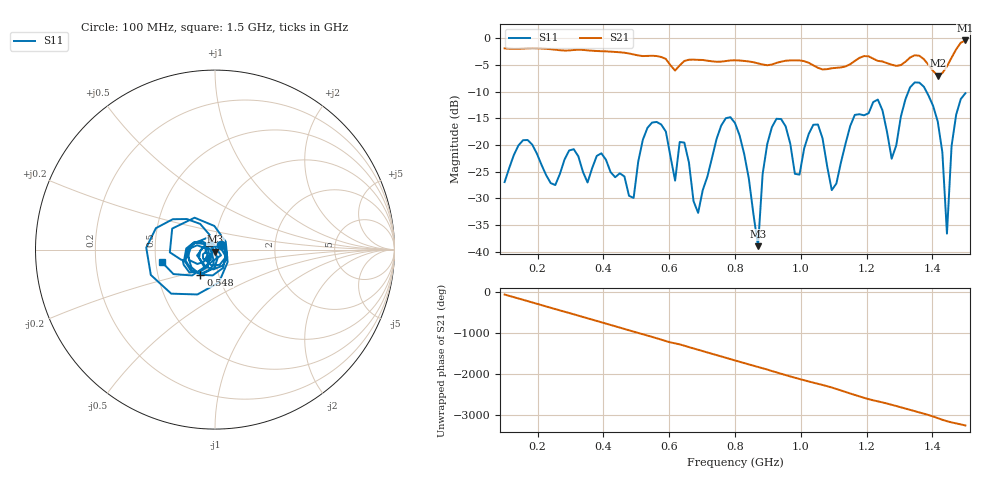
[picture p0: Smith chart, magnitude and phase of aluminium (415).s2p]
! NanoVNA-App
! Date: 2025-09-25 14:58:30
! Start: 100MHz Stop: 1,5GHz Points: 101
! S-Parameter data: F S11 S21 S12 S22
# Hz S RI R 50
!  Frequency  S11_Real  S11_Imag  S21_Real  S21_Imag  S12_Real  S12_Imag  S22_Real  S22_Imag
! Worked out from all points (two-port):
!   101 points, 100 MHz to 1.5 GHz, reference 50 ohm
!   highest |S21| = -0.44 dB at 1.5 GHz (marker M1); lowest = -7.0 dB at 1.416 GHz (marker M2)
!   |S21| within 3 dB of the highest: start of sweep to 568.4 MHz; 1.46 GHz to end of sweep (the widest 2 of 4)
!   lowest |S11| = -39.0 dB at 870 MHz (marker M3), VSWR 1.02, Z = 50.1 - j1.12 ohm
!   |S11| at or under -10 dB: start of sweep to 1.327 GHz; 1.382 GHz to end of sweep
!   S12 and S22 are empty: the file has one direction only
!   S11 on the Smith chart (normalised r, x): 100 MHz: 1.07, +0.06; 548 MHz: 0.82, -0.24; 1.5 GHz: 0.54, -0.08
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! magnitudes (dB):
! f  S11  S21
! 100 MHz  -27.0  -1.9
! 156 MHz  -19.1  -2.0
! 338 MHz  -25.0  -2.2
! 492 MHz  -29.9  -3.1
! 548 MHz  -15.8  -3.3
! 576 MHz  -16.2  -3.5
! 618 MHz  -26.7  -6.1
! 646 MHz  -19.6  -4.3
! 688 MHz  -32.7  -4.1
! 800 MHz  -15.9  -4.2
! 870 MHz  -39.0  -4.7
! 912 MHz  -16.7  -5.0
! 996 MHz  -25.6  -4.2
! 1.038 GHz  -16.2  -5.1
! 1.094 GHz  -28.5  -5.6
! 1.234 GHz  -11.5  -4.3
! 1.276 GHz  -22.6  -5.0
! 1.346 GHz  -8.3  -3.2
! 1.416 GHz  -15.6  -7.0
! 1.444 GHz  -36.6  -5.3
! 1.458 GHz  -20.2  -3.7
! 1.5 GHz  -10.3  -0.4
